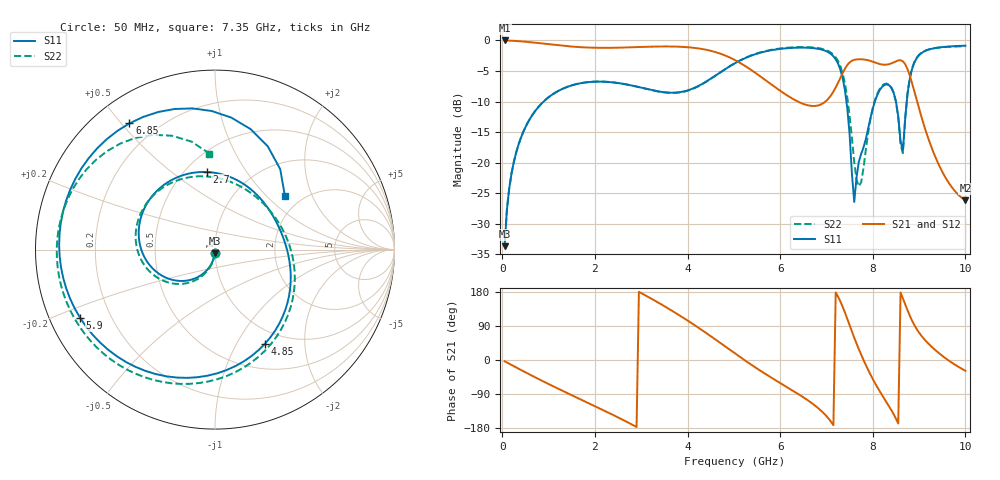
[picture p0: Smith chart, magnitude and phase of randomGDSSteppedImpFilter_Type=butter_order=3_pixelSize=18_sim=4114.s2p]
! freq	dB(S11)	phase(S11)	dB(S12)	phase(S12)
!  dB(S21)	phase(S21)	dB(S22)	phase(S22)
!S-par simulation data
#  GHz  S  DB  R 50
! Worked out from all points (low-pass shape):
!   200 points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, 50 MHz to 10 GHz, reference 50 ohm
!   highest |S21| = -0.01 dB at 50 MHz (marker M1); lowest = -26.2 dB at 10 GHz (marker M2)
!   |S21| within 3 dB of the highest: start of sweep to 4.969 GHz
!   lowest |S11| = -33.7 dB at 50 MHz (marker M3), VSWR 1.04, Z = 49.8 - j2.06 ohm
!   |S11| at or under -10 dB: start of sweep to 893.1 MHz; 7.431 GHz to 8.045 GHz (614.4 MHz wide, 7.94 % of centre); 8.501 GHz to 8.735 GHz (234.4 MHz wide, 2.72 % of centre)
!   |S22| runs from -33.7 to -1.0 dB; largest |S21 - S12| = 0
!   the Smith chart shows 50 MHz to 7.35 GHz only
!   S11 on the Smith chart (normalised r, x): 50 MHz: 1.00, -0.04; 2.7 GHz: 0.63, +0.67; 4.85 GHz: 0.81, -1.32; 5.9 GHz: 0.09, -0.24; 6.85 GHz: 0.10, +0.53; 7.35 GHz: 1.64, +1.29
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0.05  -33.66 -93.5  -0.01 -3.3  -0.01 -3.3  -33.66 -93.2
0.2  -21.74 -104.1  -0.05 -13.2  -0.05 -13.2  -21.74 -102.7
0.5  -14.19 -124.7  -0.21 -32.5  -0.21 -32.5  -14.19 -121.3
1.75  -6.93 156.1  -1.13 -107.2  -1.13 -107.2  -6.92 168.4
2.7  -7.23 96.2  -1.15 -164.0  -1.15 -164.0  -7.23 115.4
3.4  -8.38 49.0  -0.99 149.2  -0.99 149.2  -8.40 69.3
4.15  -7.76 -4.2  -1.22 92.2  -1.22 92.2  -7.81 7.8
4.85  -4.52 -62.1  -2.59 32.6  -2.59 32.6  -4.52 -54.8
5.05  -3.63 -80.0  -3.32 15.2  -3.32 15.2  -3.60 -72.1
5.9  -1.49 -153.2  -7.70 -53.4  -7.70 -53.4  -1.42 -136.9
6.7  -1.25 139.4  -10.73 -115.2  -10.73 -115.2  -1.15 168.9
6.85  -1.42 124.1  -10.57 -130.0  -10.57 -130.0  -1.29 157.0
7.15  -2.60 83.0  -8.37 -171.9  -8.37 -171.9  -2.34 125.4
7.35  -6.18 37.5  -5.34 140.5  -5.34 140.5  -5.41 93.3
7.6  -26.43 -124.9  -3.18 58.8  -3.18 58.8  -19.91 86.6
7.8  -17.51 164.7  -3.11 0.0  -3.11 0.0  -20.88 -168.2
8.05  -9.88 160.2  -3.62 -61.5  -3.62 -61.5  -9.71 -162.1
8.35  -7.33 118.1  -3.89 -121.8  -3.89 -121.8  -7.22 160.0
8.65  -18.10 148.1  -3.42 163.0  -3.42 163.0  -18.45 -159.8
8.8  -6.24 162.4  -5.77 116.6  -5.77 116.6  -6.09 -146.5
9.25  -1.41 101.3  -17.11 37.3  -17.11 37.3  -1.39 157.8
10  -0.86 51.6  -26.18 -28.4  -26.18 -28.4  -0.96 115.9
